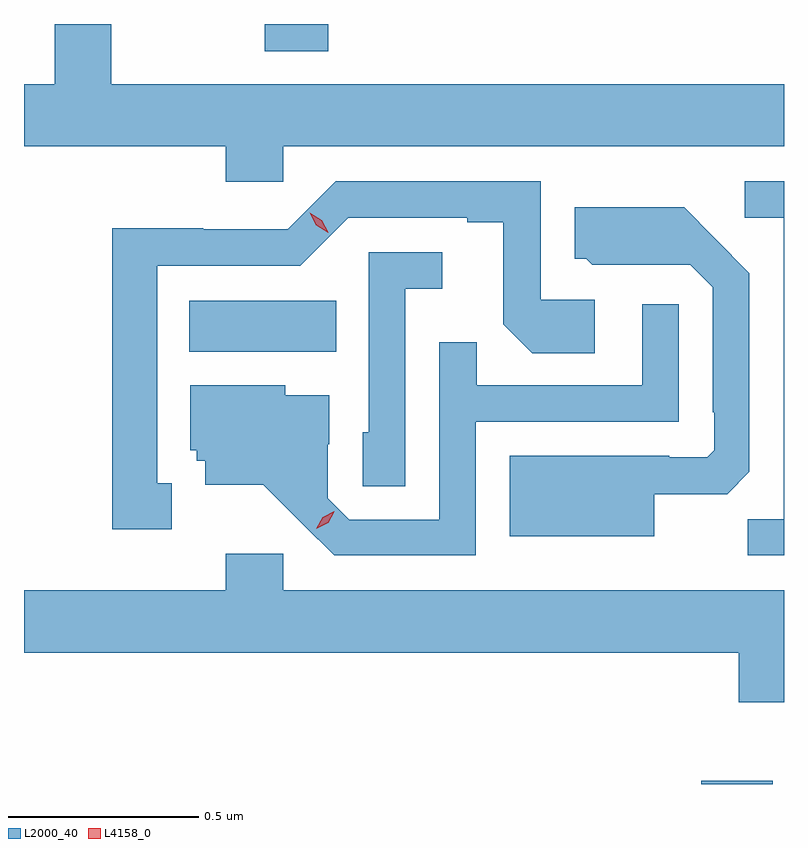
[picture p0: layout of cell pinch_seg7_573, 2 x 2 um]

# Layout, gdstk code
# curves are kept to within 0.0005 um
import gdstk
lib = gdstk.Library(unit=1e-6, precision=1e-09)
def R(c, l, rs):  # rectangles x0, y0, x1, y1
    for r in rs: c.add(gdstk.rectangle(r[:2], r[2:], *l))
def P(c, l, *ps):  # polygons
    for p in ps: c.add(gdstk.Polygon(p, *l))
L2000_40 = (2000, 40)
L4158_0 = (4158, 0)

pinch_seg7_573 = lib.new_cell('pinch_seg7_573')
R(pinch_seg7_573, L2000_40, [(136.94,1054.882,137.128,1054.891), (135.593,1056.02,135.98,1056.154), (135.791,1056.81,135.958,1056.882)])
P(pinch_seg7_573, L2000_40, [(135.84,1056.56),(137.158,1056.56),(137.158,1056.724),(135.387,1056.724),(135.387,1056.882),(135.239,1056.882),(135.239,1056.724),(135.158,1056.724),(135.158,1056.56),(135.689,1056.56),(135.689,1056.467),(135.84,1056.467)],
  [(135.547,1055.673),(135.508,1055.673),(135.508,1056.246),(135.885,1056.246),(136.011,1056.372),(136.325,1056.372),(136.325,1056.36),(136.419,1056.36),(136.419,1056.092),(136.495,1056.016),(136.66,1056.016),(136.66,1056.156),(136.518,1056.156),(136.518,1056.468),(135.978,1056.468),(135.852,1056.342),(135.63,1056.342),(135.63,1056.344),(135.39,1056.344),(135.39,1055.553),(135.547,1055.553)],
  [(137.158,1056.468),(137.055,1056.468),(137.055,1056.372),(137.157,1056.372),(137.157,1055.579),(137.062,1055.579),(137.062,1055.484),(137.158,1055.484)],
  [(136.816,1055.645),(137.008,1055.645),(137.067,1055.704),(137.067,1056.226),(136.895,1056.4),(136.607,1056.4),(136.607,1056.264),(136.638,1056.264),(136.654,1056.248),(136.788,1056.248),(136.788,1056.249),(136.911,1056.249),(136.971,1056.189),(136.971,1055.86),(136.974,1055.86),(136.974,1055.76),(136.956,1055.742),(136.856,1055.742),(136.856,1055.746),(136.436,1055.746),(136.436,1055.534),(136.816,1055.534)],
  [(136.161,1056.185),(136.258,1056.185),(136.258,1056.282),(136.065,1056.282),(136.065,1055.808),(136.05,1055.808),(136.05,1055.665),(136.161,1055.665)],
  [(136.347,1055.835),(136.881,1055.835),(136.881,1056.145),(136.785,1056.145),(136.785,1055.931),(136.349,1055.931),(136.349,1056.044),(136.251,1056.044),(136.251,1055.577),(136.014,1055.577),(135.957,1055.634),(135.957,1055.776),(135.961,1055.776),(135.961,1055.905),(135.846,1055.905),(135.846,1055.932),(135.596,1055.932),(135.596,1055.76),(135.612,1055.76),(135.612,1055.733),(135.635,1055.733),(135.635,1055.669),(135.787,1055.669),(135.974,1055.484),(136.347,1055.484)],
  [(137.158,1055.392),(135.84,1055.392),(135.84,1055.488),(135.689,1055.488),(135.689,1055.392),(135.158,1055.392),(135.158,1055.228),(137.039,1055.228),(137.039,1055.097),(137.158,1055.097)])
P(pinch_seg7_573, L4158_0, [(135.927,1055.554),(135.927,1055.554),(135.944,1055.584),(135.974,1055.6),(135.975,1055.6),(135.975,1055.599),(135.958,1055.57),(135.927,1055.554)],
  [(135.959,1056.333),(135.927,1056.352),(135.91,1056.385),(135.91,1056.385),(135.91,1056.385),(135.942,1056.366),(135.959,1056.334),(135.959,1056.333)])

lib.write_gds('pinch_seg7_573.gds')
